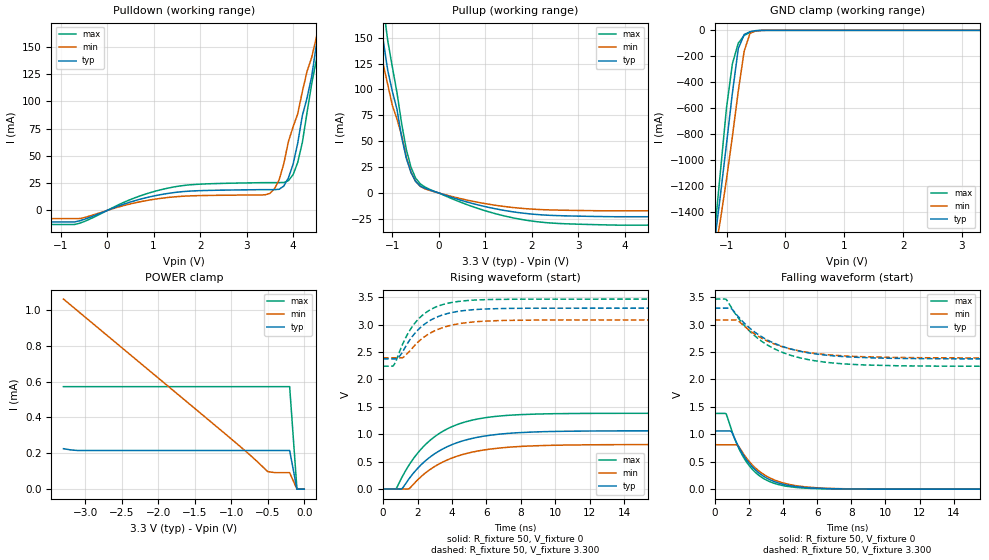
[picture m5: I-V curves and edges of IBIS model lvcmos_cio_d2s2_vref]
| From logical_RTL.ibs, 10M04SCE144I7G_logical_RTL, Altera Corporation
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|MODEL lvcmos_cio_d2s2_vref
[Model]   lvcmos_cio_d2s2_vref
Model_type   I/O
Polarity   Non-Inverting
Enable Active-Low
Vinl   = 0.800
Vinh   = 1.700
Vmeas  = 1.650
Rref   = 10M
Cref   = 0pF
Vref   = 0.000
C_comp 4.5pF   4.5pF   4.5pF
[Model Spec]
Vinh   1.700   1.700   1.700
Vinl   0.800   0.800   0.800
[Temperature Range]   25   100   -40
[Voltage Range]   3.300   3.085   3.465
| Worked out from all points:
|   slope of the pulldown table from 0 to 0.495 V, typ, clamps not added: 64.6 ohm
|   slope of the pullup table from 0 to 0.495 V, typ, clamps not added: 68.1 ohm
|   GND clamp passes 1 mA (typ) near -0.44 V on its own axis
|   rising waveform, R_fixture 50, V_fixture 0: 20-80 % time 2.77ns typ, 2.86ns min, 2.58ns max; typ from 0 V to 1.06 V
|   falling waveform, R_fixture 50, V_fixture 0: 20-80 % time 1.7ns typ, 1.87ns min, 1.54ns max; typ from 1.06 V to 0 V
|   rising waveform, R_fixture 50, V_fixture 3.300: 20-80 % time 1.73ns typ, 1.9ns min, 1.56ns max; typ from 2.37 V to 3.3 V
|   falling waveform, R_fixture 50, V_fixture 3.300: 20-80 % time 2.94ns typ, 2.97ns min, 2.88ns max; typ from 3.3 V to 2.37 V
[GND Clamp]
| voltage   I (typ)   I (min)   I (max)
-3.3V     -8.619A    -7.629A    -10.51A
-1.2V     -1.623A    -1.724A    -1.549A
-1.1V     -1.258A    -1.45A     -1.073A
-1V       -874.3mA   -1.148A    -597.4mA
-900mV    -483mA     -818mA     -257.7mA
-800mV    -141mA     -468.4mA   -98.63mA
-700mV    -32.06mA   -160.8mA   -39.96mA
-600mV    -10.6mA    -22.19mA   -15.19mA
-500mV    -2.181mA   -3.852mA   -3.947mA
3.3V      0A         0A         0A
[Pulldown]
| voltage   I (typ)   I (min)   I (max)
-3.3V     -10.52mA   -7.474mA   -12.84mA
-700mV    -10.52mA   -7.474mA   -12.84mA
1.3V      15.54mA    11.84mA    20.38mA
3.5V      19.04mA    15.58mA    25.5mA
3.7V      19.39mA    28mA       25.5mA
3.8V      22.3mA     42.68mA    25.63mA
4V        42.23mA    76.44mA    32.71mA
4.1V      61.55mA    88.51mA    43.96mA
4.4V      122.6mA    140.1mA    115.8mA
4.5V      151.2mA    158.2mA    137.8mA
4.6V      165.2mA    178mA      166.6mA
6.5V      562.6mA    501.8mA    653.7mA
[Power Clamp]
| voltage   I (typ)   I (min)   I (max)
-3.3V     225.6uA    1.06mA     571.7uA
-3.1V     215.6uA    992.4uA    571.7uA
-1V       215.6uA    280uA      571.7uA
-700mV    215.6uA    174.9uA    571.7uA
-500mV    215.6uA    97.73uA    571.7uA
-400mV    215.6uA    92.15uA    571.7uA
-200mV    215.6uA    92.15uA    571.7uA
-100mV    0A         0A         0A
0V        0A         0A         0A
[Pullup]
| voltage   I (typ)   I (min)   I (max)
-3.3V     601.3mA    507.8mA    751.8mA
-1.4V     184.1mA    157.7mA    227.4mA
-1.3V     164.2mA    139.4mA    211.5mA
-1.2V     148.4mA    124.8mA    182.2mA
-1.1V     118.6mA    104.7mA    147.3mA
-900mV    80.7mA     71.25mA    96.69mA
-700mV    33.51mA    34.71mA    42.04mA
-500mV    11.1mA     11.35mA    14.34mA
-300mV    4.685mA    4.022mA    5.769mA
1V        -13.19mA   -10.3mA    -17.19mA
2.1V      -20.77mA   -15.84mA   -27.69mA
6.5V      -22.95mA   -17.19mA   -31.08mA
[Ramp]
dV/dt_r   6.364e-01/2.772e-09 4.860e-01/2.862e-09 8.284e-01/2.577e-09
dV/dt_f   5.555e-01/2.938e-09 4.161e-01/2.967e-09 7.351e-01/2.880e-09
R_load = 50ohms
[Rising Waveform]
R_fixture   = 50
V_fixture   = 0
V_fixture_min = 0
V_fixture_max = 0
| time   V (typ)   V (min)   V (max)
0s        227.2nV    4.811uV    63.23nV
750.1ps   3.833uV    6.142uV    1.992mV
1.102ns   4.904mV    -602.3uV   215.5mV
1.5ns     181.9mV    2.881mV    432mV
2.203ns   438.9mV    223.7mV    725.3mV
3.024ns   647.3mV    415mV      960mV
4.149ns   826.5mV    581.2mV    1.156V
5.555ns   946.7mV    694.9mV    1.28V
9.939ns   1.049V     796.8mV    1.373V
23.42ns   1.061V     810mV      1.381V
[Falling Waveform]
R_fixture   = 50
V_fixture   = 0
V_fixture_min = 0
V_fixture_max = 0
| time   V (typ)   V (min)   V (max)
0s        1.061V     810mV      1.381V
677.6ps   1.061V     810mV      1.365V
981.4ps   1.046V     810mV      1.077V
1.332ns   814.6mV    801mV      796.7mV
1.776ns   573.5mV    601.5mV    535.5mV
2.243ns   392.3mV    427.8mV    347.8mV
3.038ns   202.4mV    236.5mV    163.7mV
4.042ns   86.33mV    110.3mV    62.08mV
7.571ns   4.256mV    7.39mV     2.04mV
23.34ns   248.8nV    4.854uV    19.16nV
[Rising Waveform]
R_fixture   = 50
V_fixture   = 3.300
V_fixture_min   = 3.085
V_fixture_max   = 3.465
| time   V (typ)   V (min)   V (max)
0s        2.374V     2.391V     2.24V
609.5ps   2.374V     2.391V     2.253V
867.3ps   2.386V     2.391V     2.43V
1.149ns   2.508V     2.397V     2.652V
1.43ns    2.662V     2.476V     2.829V
2.203ns   2.955V     2.728V     3.147V
3.047ns   3.126V     2.893V     3.318V
4.102ns   3.226V     2.997V     3.409V
7.712ns   3.296V     3.079V     3.463V
23.42ns   3.3V       3.085V     3.465V
[Falling Waveform]
R_fixture   = 50
V_fixture   = 3.300
V_fixture_min   = 3.085
V_fixture_max   = 3.465
| time   V (typ)   V (min)   V (max)
0s        3.3V       3.085V     3.465V
677.6ps   3.3V       3.085V     3.456V
981.4ps   3.289V     3.085V     3.305V
1.332ns   3.161V     3.075V     3.14V
1.776ns   3.013V     2.959V     2.968V
2.991ns   2.734V     2.713V     2.646V
4.183ns   2.579V     2.576V     2.468V
5.701ns   2.474V     2.482V     2.349V
10.14ns   2.386V     2.403V     2.252V
23.34ns   2.374V     2.391V     2.24V
